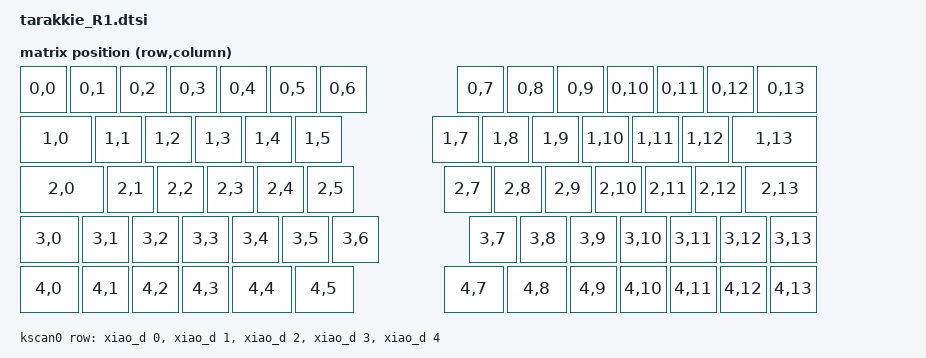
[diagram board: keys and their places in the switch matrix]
/*
 * Copyright (c) 2025 The ZMK Contributors
 *
 * SPDX-License-Identifier: MIT
 */

#include <dt-bindings/zmk/matrix_transform.h>
#include <physical_layouts.dtsi>

/ {
    vbatt: vbatt {
        compatible = "zmk,battery-voltage-divider";
        label = "BATTERY";
        io-channels = <&adc 0>; // D0 is P0.02 (AIN0)
        output-ohms = <1000000>;
        full-ohms = <8500000>; // Adjusted based on user metrics (1.425V @ D0=0.68V should be ~100%)
    };

    chosen {
        zmk,kscan = &kscan0;
        zmk,physical-layout = &physical_layout0;
        zmk,battery = &vbatt;
    };
};

&adc {
    status = "okay";
};

/ {
    physical_layout0: physical_layout0 {
        compatible = "zmk,physical-layout";
        display-name = "Default Layout";
        transform = <&default_transform>;
        kscan = <&kscan0>;
        keys  /* Row 0: ESC 1 2 3 4 5 6 | 7 8 9 0 = Del Fn */
            = <&key_physical_attrs 100 100   0   0 0 0 0>
            , <&key_physical_attrs 100 100 100   0 0 0 0>
            , <&key_physical_attrs 100 100 200   0 0 0 0>
            , <&key_physical_attrs 100 100 300   0 0 0 0>
            , <&key_physical_attrs 100 100 400   0 0 0 0>
            , <&key_physical_attrs 100 100 500   0 0 0 0>
            , <&key_physical_attrs 100 100 600   0 0 0 0>
            , <&key_physical_attrs 100 100 875   0 0 0 0>
            , <&key_physical_attrs 100 100 975   0 0 0 0>
            , <&key_physical_attrs 100 100 1075  0 0 0 0>
            , <&key_physical_attrs 100 100 1175  0 0 0 0>
            , <&key_physical_attrs 100 100 1275  0 0 0 0>
            , <&key_physical_attrs 100 100 1375  0 0 0 0>
            , <&key_physical_attrs 125 100 1475  0 0 0 0>

            /* Row 1: Tab(1.5u) Q W E R T | Y U I O P ` Caps(1.75u) */
            , <&key_physical_attrs 150 100   0 100 0 0 0>
            , <&key_physical_attrs 100 100 150 100 0 0 0>
            , <&key_physical_attrs 100 100 250 100 0 0 0>
            , <&key_physical_attrs 100 100 350 100 0 0 0>
            , <&key_physical_attrs 100 100 450 100 0 0 0>
            , <&key_physical_attrs 100 100 550 100 0 0 0>
            , <&key_physical_attrs 100 100 825 100 0 0 0>
            , <&key_physical_attrs 100 100 925 100 0 0 0>
            , <&key_physical_attrs 100 100 1025 100 0 0 0>
            , <&key_physical_attrs 100 100 1125 100 0 0 0>
            , <&key_physical_attrs 100 100 1225 100 0 0 0>
            , <&key_physical_attrs 100 100 1325 100 0 0 0>
            , <&key_physical_attrs 175 100 1425 100 0 0 0>

            /* Row 2: Shift(1.75u) A S D F G | H J K L - / \(1.5u) */
            , <&key_physical_attrs 175 100   0 200 0 0 0>
            , <&key_physical_attrs 100 100 175 200 0 0 0>
            , <&key_physical_attrs 100 100 275 200 0 0 0>
            , <&key_physical_attrs 100 100 375 200 0 0 0>
            , <&key_physical_attrs 100 100 475 200 0 0 0>
            , <&key_physical_attrs 100 100 575 200 0 0 0>
            , <&key_physical_attrs 100 100 850 200 0 0 0>
            , <&key_physical_attrs 100 100 950 200 0 0 0>
            , <&key_physical_attrs 100 100 1050 200 0 0 0>
            , <&key_physical_attrs 100 100 1150 200 0 0 0>
            , <&key_physical_attrs 100 100 1250 200 0 0 0>
            , <&key_physical_attrs 100 100 1350 200 0 0 0>
            , <&key_physical_attrs 150 100 1450 200 0 0 0>

            /* Row 3: Ctrl(1.25u) * Z X C V B | N M , . ; Up Ins */
            , <&key_physical_attrs 125 100   0 300 0 0 0>
            , <&key_physical_attrs 100 100 125 300 0 0 0>
            , <&key_physical_attrs 100 100 225 300 0 0 0>
            , <&key_physical_attrs 100 100 325 300 0 0 0>
            , <&key_physical_attrs 100 100 425 300 0 0 0>
            , <&key_physical_attrs 100 100 525 300 0 0 0>
            , <&key_physical_attrs 100 100 625 300 0 0 0>
            , <&key_physical_attrs 100 100 900 300 0 0 0>
            , <&key_physical_attrs 100 100 1000 300 0 0 0>
            , <&key_physical_attrs 100 100 1100 300 0 0 0>
            , <&key_physical_attrs 100 100 1200 300 0 0 0>
            , <&key_physical_attrs 100 100 1300 300 0 0 0>
            , <&key_physical_attrs 100 100 1400 300 0 0 0>
            , <&key_physical_attrs 100 100 1500 300 0 0 0>

            /* Row 4: Alt(1.25u) Win S ` Tab(1.25u) Space(1.25u) | Enter(1.25u) BkSp(1.25u) I ' Left Down Right */
            , <&key_physical_attrs 125 100   0 400 0 0 0>
            , <&key_physical_attrs 100 100 125 400 0 0 0>
            , <&key_physical_attrs 100 100 225 400 0 0 0>
            , <&key_physical_attrs 100 100 325 400 0 0 0>
            , <&key_physical_attrs 125 100 425 400 0 0 0>
            , <&key_physical_attrs 125 100 550 400 0 0 0>
            , <&key_physical_attrs 125 100 850 400 0 0 0>
            , <&key_physical_attrs 125 100 975 400 0 0 0>
            , <&key_physical_attrs 100 100 1100 400 0 0 0>
            , <&key_physical_attrs 100 100 1200 400 0 0 0>
            , <&key_physical_attrs 100 100 1300 400 0 0 0>
            , <&key_physical_attrs 100 100 1400 400 0 0 0>
            , <&key_physical_attrs 100 100 1500 400 0 0 0>
            ;
    };

    default_transform: keymap_transform_0 {
        compatible = "zmk,matrix-transform";
        columns = <14>;
        rows = <5>;
        map = <
RC(0,0) RC(0,1) RC(0,2) RC(0,3) RC(0,4) RC(0,5) RC(0,6) RC(0,7) RC(0,8) RC(0,9) RC(0,10) RC(0,11) RC(0,12) RC(0,13)
RC(1,0) RC(1,1) RC(1,2) RC(1,3) RC(1,4) RC(1,5) RC(1,7) RC(1,8) RC(1,9) RC(1,10) RC(1,11) RC(1,12) RC(1,13)
RC(2,0) RC(2,1) RC(2,2) RC(2,3) RC(2,4) RC(2,5) RC(2,7) RC(2,8) RC(2,9) RC(2,10) RC(2,11) RC(2,12) RC(2,13)
RC(3,0) RC(3,1) RC(3,2) RC(3,3) RC(3,4) RC(3,5) RC(3,6) RC(3,7) RC(3,8) RC(3,9) RC(3,10) RC(3,11) RC(3,12) RC(3,13)
RC(4,0) RC(4,1) RC(4,2) RC(4,3) RC(4,4) RC(4,5) RC(4,7) RC(4,8) RC(4,9) RC(4,10) RC(4,11) RC(4,12) RC(4,13)
        >;
    };

    kscan0: kscan {
        compatible = "zmk,kscan-gpio-matrix";
        wakeup-source;

        diode-direction = "col2row";
        row-gpios
            = <&xiao_d 0 (GPIO_ACTIVE_HIGH | GPIO_PULL_DOWN)>
            , <&xiao_d 1 (GPIO_ACTIVE_HIGH | GPIO_PULL_DOWN)>
            , <&xiao_d 2 (GPIO_ACTIVE_HIGH | GPIO_PULL_DOWN)>
            , <&xiao_d 3 (GPIO_ACTIVE_HIGH | GPIO_PULL_DOWN)>
            , <&xiao_d 4 (GPIO_ACTIVE_HIGH | GPIO_PULL_DOWN)>
            ;
    };
};

/ {
    aliases {
        led-red = &led0;
        led-green = &led1;
        led-blue = &led2;
    };

    leds {
        compatible = "gpio-leds";
        status = "okay";
        led0: led_0 { gpios = <&gpio0 26 GPIO_ACTIVE_LOW>; };
        led1: led_1 { gpios = <&gpio0 30 GPIO_ACTIVE_LOW>; };
        led2: led_2 { gpios = <&gpio0 6 GPIO_ACTIVE_LOW>; };
    };
};
